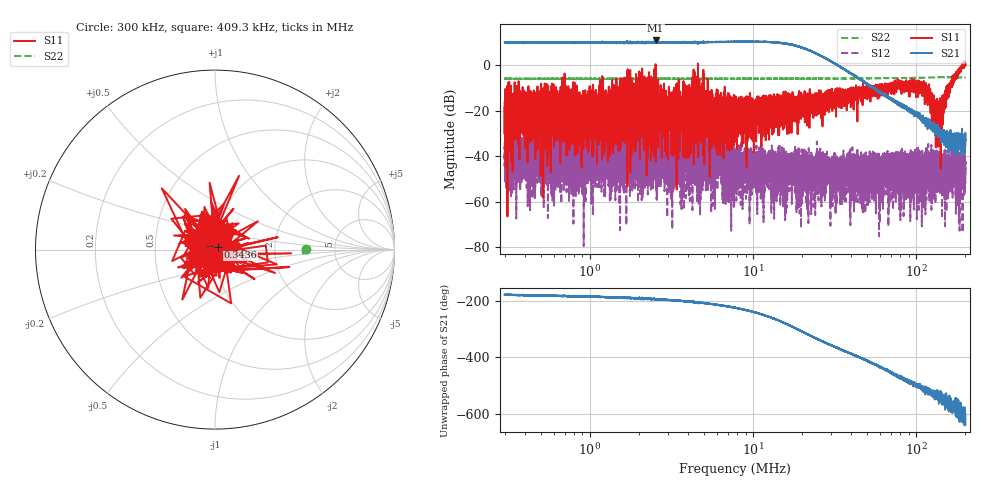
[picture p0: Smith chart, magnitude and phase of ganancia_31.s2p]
# Hz S DB R 50
! CMT, M5065, 19127446, 24.2.4/2
! Date: 11/1/2024 4:33:12 PM
! Data: Format (Calibration Info)
! Freq	S11:dB/Ang(F2)	S21:dB/Ang(F2)	S12:dB/Ang(F2)	S22:dB/Ang(F2)
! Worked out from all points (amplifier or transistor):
!   9000 points, 300 kHz to 200 MHz, reference 50 ohm
!   highest |S21| = 11.0 dB at 2.525 MHz (marker M1)
!   |S21| within 3 dB of that: start of sweep to 19.51 MHz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
!   unconditionally stable (mu >= 1): start of sweep to 2.523 MHz; 2.526 MHz to 4.59 MHz; 4.595 MHz to 191 MHz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
!   at 886.8 kHz: K = 38.29, MAG = 11.4 dB, |S12| = -50.4 dB
!   at 7.749 MHz: K = 18.29, MAG = 11.7 dB, |S12| = -44.3 dB
!   at 200 MHz: K = -87.02, MSG = 5.7 dB, |S12| = -46.7 dB
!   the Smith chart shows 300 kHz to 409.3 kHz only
!   S11 on the Smith chart (normalised r, x): 300 kHz: 0.79, -0.02; 343.6 kHz: 1.04, +0.03; 409.3 kHz: 1.13, -0.24
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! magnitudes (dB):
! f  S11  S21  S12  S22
! 300 kHz  -18.5  10.1  -33.9  -5.9
! 343.6 kHz  -32.9  10.1  -40.2  -5.9
! 409.3 kHz  -17.8  10.1  -37.8  -6.0
! 886.8 kHz  -21.1  10.1  -50.4  -5.9
! 2.525 MHz  0.6  11.0  -47.8  -5.9
! 2.621 MHz  -17.5  10.1  -38.4  -5.8
! 3.104 MHz  -20.1  10.2  -38.7  -5.8
! 3.455 MHz  -21.6  10.1  -28.9  -5.9
! 3.644 MHz  -24.5  10.1  -63.3  -5.9
! 4.947 MHz  -26.9  10.3  -50.5  -5.9
! 5.688 MHz  -16.4  10.4  -37.0  -5.9
! 6.065 MHz  -17.6  10.3  -41.3  -5.9
! 7.749 MHz  -33.6  10.4  -44.3  -5.9
! 22.91 MHz  -15.1  6.2  -46.5  -5.9
! 61.06 MHz  -9.9  -12.3  -51.2  -5.6
! 64.6 MHz  -10.9  -12.8  -41.0  -5.5
! 67.71 MHz  -8.8  -14.3  -43.7  -5.6
! 107.6 MHz  -10.1  -23.4  -49.1  -5.4
! 122.3 MHz  -20.9  -25.4  -48.1  -5.3
! 137.1 MHz  -19.2  -28.4  -46.8  -5.2
! 160.1 MHz  -8.9  -33.3  -44.2  -5.2
! 200 MHz  0.1  -35.3  -46.7  -5.3
